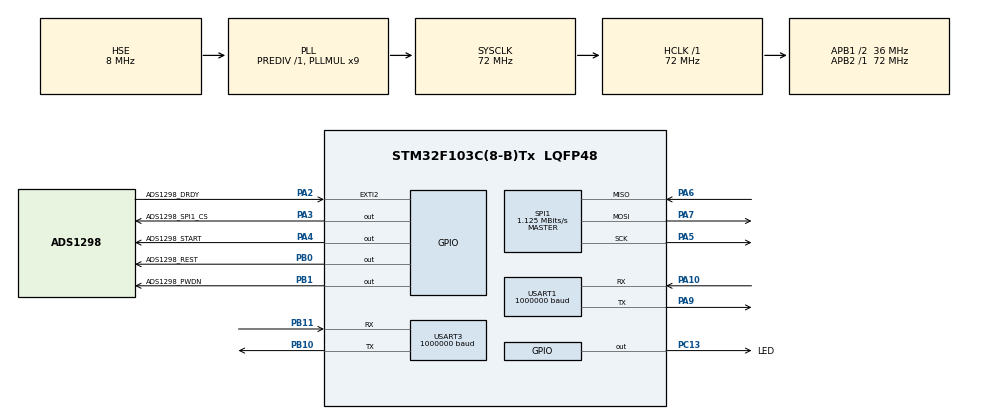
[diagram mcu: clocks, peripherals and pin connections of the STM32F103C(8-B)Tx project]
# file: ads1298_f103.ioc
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Dma.Request0=USART3_RX
Dma.Request1=USART3_TX
Dma.USART3_RX.0.Direction=DMA_PERIPH_TO_MEMORY
Dma.USART3_RX.0.Instance=DMA1_Channel3
Dma.USART3_RX.0.MemDataAlignment=DMA_MDATAALIGN_BYTE
Dma.USART3_RX.0.MemInc=DMA_MINC_ENABLE
Dma.USART3_RX.0.Mode=DMA_NORMAL
Dma.USART3_RX.0.PeriphDataAlignment=DMA_PDATAALIGN_BYTE
Dma.USART3_RX.0.PeriphInc=DMA_PINC_DISABLE
Dma.USART3_RX.0.Priority=DMA_PRIORITY_LOW
Dma.USART3_TX.1.Direction=DMA_MEMORY_TO_PERIPH
Dma.USART3_TX.1.Instance=DMA1_Channel2
Dma.USART3_TX.1.MemDataAlignment=DMA_MDATAALIGN_BYTE
Dma.USART3_TX.1.MemInc=DMA_MINC_ENABLE
Dma.USART3_TX.1.Mode=DMA_NORMAL
Dma.USART3_TX.1.PeriphDataAlignment=DMA_PDATAALIGN_BYTE
Dma.USART3_TX.1.PeriphInc=DMA_PINC_DISABLE
Dma.USART3_TX.1.Priority=DMA_PRIORITY_LOW
Mcu.Family=STM32F1
Mcu.Name=STM32F103C(8-B)Tx
Mcu.Package=LQFP48
NVIC.DMA1_Channel2_IRQn=true\:0\:0\:false\:false\:true\:false\:true\:true
NVIC.DMA1_Channel3_IRQn=true\:0\:0\:false\:false\:true\:false\:true\:true
NVIC.EXTI2_IRQn=true\:0\:0\:false\:false\:true\:true\:true\:true
NVIC.PriorityGroup=NVIC_PRIORITYGROUP_4
NVIC.USART1_IRQn=true\:0\:0\:false\:false\:true\:true\:true\:true
NVIC.USART3_IRQn=true\:3\:0\:true\:false\:true\:true\:true\:true
PA10.Mode=Asynchronous
PA10.Signal=USART1_RX
PA13.Mode=Serial_Wire
PA13.Signal=SYS_JTMS-SWDIO
PA14.Mode=Serial_Wire
PA14.Signal=SYS_JTCK-SWCLK
PA2.GPIO_Label=ADS1298_DRDY
PA2.GPIO_ModeDefaultEXTI=GPIO_MODE_IT_FALLING
PA2.Signal=GPXTI2
PA3.GPIO_Label=ADS1298_SPI1_CS
PA3.Signal=GPIO_Output
PA4.GPIO_Label=ADS1298_START
PA4.GPIO_Speed=GPIO_SPEED_FREQ_HIGH
PA4.Signal=GPIO_Output
PA5.Mode=Full_Duplex_Master
PA5.Signal=SPI1_SCK
PA6.Mode=Full_Duplex_Master
PA6.Signal=SPI1_MISO
PA7.Mode=Full_Duplex_Master
PA7.Signal=SPI1_MOSI
PA9.Mode=Asynchronous
PA9.Signal=USART1_TX
PB0.GPIO_Label=ADS1298_REST
PB0.Signal=GPIO_Output
PB1.GPIO_Label=ADS1298_PWDN
PB1.Signal=GPIO_Output
PB10.Mode=Asynchronous
PB10.Signal=USART3_TX
PB11.Mode=Asynchronous
PB11.Signal=USART3_RX
PC13-TAMPER-RTC.GPIO_Label=LED
PC13-TAMPER-RTC.Signal=GPIO_Output
PD0-OSC_IN.Mode=HSE-External-Oscillator
PD0-OSC_IN.Signal=RCC_OSC_IN
PD1-OSC_OUT.Mode=HSE-External-Oscillator
PD1-OSC_OUT.Signal=RCC_OSC_OUT
ProjectManager.HeapSize=0x200
ProjectManager.StackSize=0x400
ProjectManager.TargetToolchain=MDK-ARM V5.27
RCC.AHBFreq_Value=72000000
RCC.APB1CLKDivider=RCC_HCLK_DIV2
RCC.APB1Freq_Value=36000000
RCC.APB1TimFreq_Value=72000000
RCC.APB2Freq_Value=72000000
RCC.APB2TimFreq_Value=72000000
RCC.HCLKFreq_Value=72000000
RCC.PLLMUL=RCC_PLL_MUL9
RCC.PLLSourceVirtual=RCC_PLLSOURCE_HSE
RCC.SYSCLKFreq_VALUE=72000000
RCC.SYSCLKSource=RCC_SYSCLKSOURCE_PLLCLK
RCC.USBFreq_Value=72000000
SPI1.BaudRatePrescaler=SPI_BAUDRATEPRESCALER_64
SPI1.CLKPhase=SPI_PHASE_2EDGE
SPI1.CalculateBaudRate=1.125 MBits/s
SPI1.Direction=SPI_DIRECTION_2LINES
SPI1.Mode=SPI_MODE_MASTER
SPI1.VirtualType=VM_MASTER
USART1.BaudRate=1000000
USART1.VirtualMode=VM_ASYNC
USART3.BaudRate=1000000
USART3.VirtualMode=VM_ASYNC
board=custom

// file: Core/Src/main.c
/* USER CODE BEGIN Header */
/**
  ******************************************************************************
  * @file           : main.c
  * @brief          : Main program body
  ******************************************************************************
  * @attention
  *
  * Copyright (c) 2025 STMicroelectronics.
  * All rights reserved.
  *
  * This software is licensed under terms that can be found in the LICENSE file
  * in the root directory of this software component.
  * If no LICENSE file comes with this software, it is provided AS-IS.
  *
  ******************************************************************************
  */
/* USER CODE END Header */
#include "main.h"
#include "dma.h"
#include "spi.h"
#include "usart.h"
#include "gpio.h"

/* USER CODE BEGIN Includes */
#include "delay.h"
#include "ads1298.h"
#include <string.h>
#include "cmd_parser.h"
#include "circular_buffer.h"
/* USER CODE END Includes */

void SystemClock_Config(void);

/* USER CODE BEGIN 0 */

#define READ_BUFFER_LEN  192  //6个采样点  6*32 = 192个字节

CircularBuffer ads1298_circula_buffer;
uint8_t uart_tx_buffer[400];
uint8_t read_buffer[READ_BUFFER_LEN];

extern uint8_t g_sample_status;

/* USER CODE END 0 */

int main(void)
{

  /* MCU Configuration--------------------------------------------------------*/

  /* Reset of all peripherals, Initializes the Flash interface and the Systick. */
  HAL_Init();

  /* Configure the system clock */
  SystemClock_Config();

  /* USER CODE BEGIN SysInit */
  delay_init(72);
  /* USER CODE END SysInit */

  /* Initialize all configured peripherals */
  MX_GPIO_Init();
  MX_DMA_Init();
  MX_SPI1_Init();
  MX_USART1_UART_Init();
  MX_USART3_UART_Init();
  /* USER CODE BEGIN 2 */

	// ADS1298初始化
	ADS1298_Init();

	// 初始化环形缓冲区
  if (!circular_buffer_init(&ads1298_circula_buffer, 400)) {
       printf("环形缓冲区初始化失败！\n");
       return -1;
  }

	// 开始采集
	ADS1298_Start();
	g_sample_status = 1;

	extern uint8_t ADS1298_REG[12];
	// 判断ADS1298 ID是否读取成功
	if(ADS1298_REG[0] == 0x92 || ADS1298_REG[0] == 0xD2)
	{
		 LED_L; // ADS1298 ID读取成功
	}else
	{
		 LED_H; // ADS1298 ID读取失败
	}

  /* USER CODE END 2 */

  /* Infinite loop */
  /* USER CODE BEGIN WHILE */

	//uint8_t count = 0;
  while (1)
  {
    /* USER CODE END WHILE */

    /* USER CODE BEGIN 3 */

		// 判断指令是否接收完成
		if(g_cmd_rx_done == 1)
		{
			 g_cmd_rx_done = 0;

			 // 指令解析
			 order_data_parse(g_cmd_rx_buffer,g_cmd_rx_len);

			 // 清空指令数据
			 g_cmd_rx_len = 0;
			 memset(g_cmd_rx_buffer,0,g_cmd_rx_len);

			 // 重新打开DMA接收
			 HAL_UART_Receive_DMA(&huart3,g_cmd_rx_buffer,CMD_RX_BUFFER_SIZE);
		}

		if(g_sample_status == 1)
		{
				if(ads1298_circula_buffer.dataCount > READ_BUFFER_LEN)
				{
					 // 从环形缓存区提取
					 circular_buffer_read(&ads1298_circula_buffer,read_buffer,READ_BUFFER_LEN);

					 // 数据帧打包
					 uint8_t tx_len = ack_data_pack(ADRR_SAMPLE_CONTROL,read_buffer,READ_BUFFER_LEN,uart_tx_buffer);

					 // 串口发送数据包
					 HAL_UART_Transmit(&huart3, uart_tx_buffer, tx_len, 0xffff);
				}
		}
  }
  /* USER CODE END 3 */
}

void SystemClock_Config(void)
{
  RCC_OscInitTypeDef RCC_OscInitStruct = {0};
  RCC_ClkInitTypeDef RCC_ClkInitStruct = {0};

  /** Initializes the RCC Oscillators according to the specified parameters
  * in the RCC_OscInitTypeDef structure.
  */
  RCC_OscInitStruct.OscillatorType = RCC_OSCILLATORTYPE_HSE;
  RCC_OscInitStruct.HSEState = RCC_HSE_ON;
  RCC_OscInitStruct.HSEPredivValue = RCC_HSE_PREDIV_DIV1;
  RCC_OscInitStruct.HSIState = RCC_HSI_ON;
  RCC_OscInitStruct.PLL.PLLState = RCC_PLL_ON;
  RCC_OscInitStruct.PLL.PLLSource = RCC_PLLSOURCE_HSE;
  RCC_OscInitStruct.PLL.PLLMUL = RCC_PLL_MUL9;
  if (HAL_RCC_OscConfig(&RCC_OscInitStruct) != HAL_OK)
  {
    Error_Handler();
  }

  /** Initializes the CPU, AHB and APB buses clocks
  */
  RCC_ClkInitStruct.ClockType = RCC_CLOCKTYPE_HCLK|RCC_CLOCKTYPE_SYSCLK
                              |RCC_CLOCKTYPE_PCLK1|RCC_CLOCKTYPE_PCLK2;
  RCC_ClkInitStruct.SYSCLKSource = RCC_SYSCLKSOURCE_PLLCLK;
  RCC_ClkInitStruct.AHBCLKDivider = RCC_SYSCLK_DIV1;
  RCC_ClkInitStruct.APB1CLKDivider = RCC_HCLK_DIV2;
  RCC_ClkInitStruct.APB2CLKDivider = RCC_HCLK_DIV1;

  if (HAL_RCC_ClockConfig(&RCC_ClkInitStruct, FLASH_LATENCY_2) != HAL_OK)
  {
    Error_Handler();
  }
}

void Error_Handler(void)
{
  __disable_irq();
  while (1)
  {
  }
}
